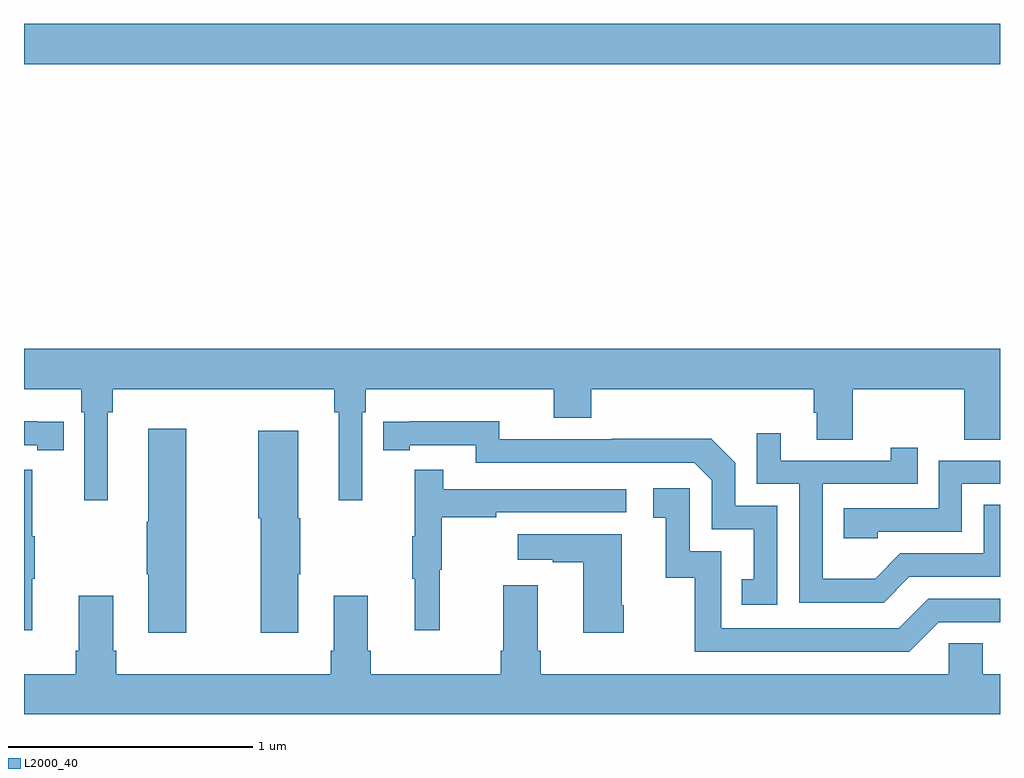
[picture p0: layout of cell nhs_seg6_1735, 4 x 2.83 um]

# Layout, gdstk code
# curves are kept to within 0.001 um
import gdstk
lib = gdstk.Library(unit=1e-6, precision=1e-09)
def R(c, l, rs):  # rectangles x0, y0, x1, y1
    for r in rs: c.add(gdstk.rectangle(r[:2], r[2:], *l))
def P(c, l, *ps):  # polygons
    for p in ps: c.add(gdstk.Polygon(p, *l))
L2000_40 = (2000, 40)

nhs_seg6_1735 = lib.new_cell('nhs_seg6_1735')
R(nhs_seg6_1735, L2000_40, [(215,963.32,219,963.484)])
P(nhs_seg6_1735, L2000_40, [(215,961.988),(215.234,961.988),(215.234,961.892),(215.247,961.892),(215.247,961.533),(215.344,961.533),(215.344,961.892),(215.363,961.892),(215.363,961.988),(216.271,961.988),(216.271,961.892),(216.29,961.892),(216.29,961.533),(216.387,961.533),(216.387,961.892),(216.401,961.892),(216.401,961.988),(217.172,961.988),(217.172,961.871),(217.325,961.871),(217.325,961.988),(218.237,961.988),(218.237,961.89),(218.249,961.89),(218.249,961.78),(218.397,961.78),(218.397,961.988),(218.854,961.988),(218.854,961.78),(219,961.78),(219,962.152),(215,962.152)],
  [(215.162,961.854),(215.054,961.854),(215.054,961.855),(215,961.855),(215,961.758),(215.054,961.758),(215.054,961.738),(215.162,961.738)],
  [(218.088,961.509),(217.914,961.509),(217.914,961.686),(217.816,961.784),(217.408,961.784),(217.408,961.782),(216.948,961.782),(216.948,961.855),(216.472,961.854),(216.472,961.738),(216.58,961.738),(216.58,961.758),(216.852,961.758),(216.852,961.686),(217.746,961.686),(217.818,961.614),(217.818,961.413),(217.991,961.413),(217.991,961.209),(217.942,961.209),(217.942,961.104),(218.088,961.104)],
  [(215.664,961.825),(215.51,961.825),(215.51,961.445),(215.503,961.445),(215.503,961.228),(215.51,961.228),(215.51,960.99),(215.664,960.99)],
  [(216.124,961.228),(216.132,961.228),(216.132,961.458),(216.124,961.458),(216.124,961.816),(215.96,961.816),(215.96,961.458),(215.971,961.458),(215.971,960.99),(216.124,960.99)],
  [(218.629,961.218),(219,961.218),(219,961.513),(218.934,961.513),(218.934,961.314),(218.592,961.314),(218.488,961.21),(218.274,961.21),(218.274,961.599),(218.663,961.599),(218.663,961.747),(218.552,961.747),(218.552,961.695),(218.101,961.695),(218.101,961.807),(218.004,961.807),(218.004,961.599),(218.178,961.599),(218.178,961.113),(218.524,961.113)],
  [(218.499,961.404),(218.844,961.404),(218.844,961.599),(219,961.599),(219,961.695),(218.748,961.695),(218.748,961.5),(218.359,961.5),(218.359,961.377),(218.499,961.377)],
  [(216.704,961.248),(216.712,961.248),(216.712,961.462),(216.935,961.462),(216.935,961.482),(217.468,961.482),(217.468,961.578),(216.719,961.578),(216.719,961.657),(216.602,961.657),(216.602,961.385),(216.591,961.385),(216.591,961.211),(216.602,961.211),(216.602,960.999),(216.704,960.999)],
  [(215.033,961.211),(215.044,961.211),(215.044,961.385),(215.033,961.385),(215.033,961.657),(215,961.657),(215,960.999),(215.033,960.999)],
  [(218.748,961.032),(219,961.032),(219,961.128),(218.706,961.128),(218.586,961.008),(217.857,961.008),(217.857,961.323),(217.728,961.323),(217.728,961.582),(217.578,961.582),(217.578,961.461),(217.631,961.461),(217.631,961.215),(217.749,961.215),(217.749,960.912),(218.628,960.912)],
  [(217.458,961.102),(217.45,961.102),(217.45,961.393),(217.023,961.393),(217.023,961.289),(217.166,961.289),(217.166,961.279),(217.292,961.279),(217.292,960.99),(217.458,960.99)],
  [(219,960.82),(218.929,960.82),(218.929,960.947),(218.79,960.947),(218.79,960.82),(217.118,960.82),(217.118,960.916),(217.105,960.916),(217.105,961.183),(216.965,961.183),(216.965,960.916),(216.953,960.916),(216.953,960.82),(216.422,960.82),(216.422,960.916),(216.409,960.916),(216.409,961.141),(216.269,961.141),(216.269,960.916),(216.257,960.916),(216.257,960.82),(215.378,960.82),(215.378,960.916),(215.365,960.916),(215.365,961.141),(215.225,961.141),(215.225,960.916),(215.213,960.916),(215.213,960.82),(215,960.82),(215,960.656),(219,960.656)])

lib.write_gds('nhs_seg6_1735.gds')
